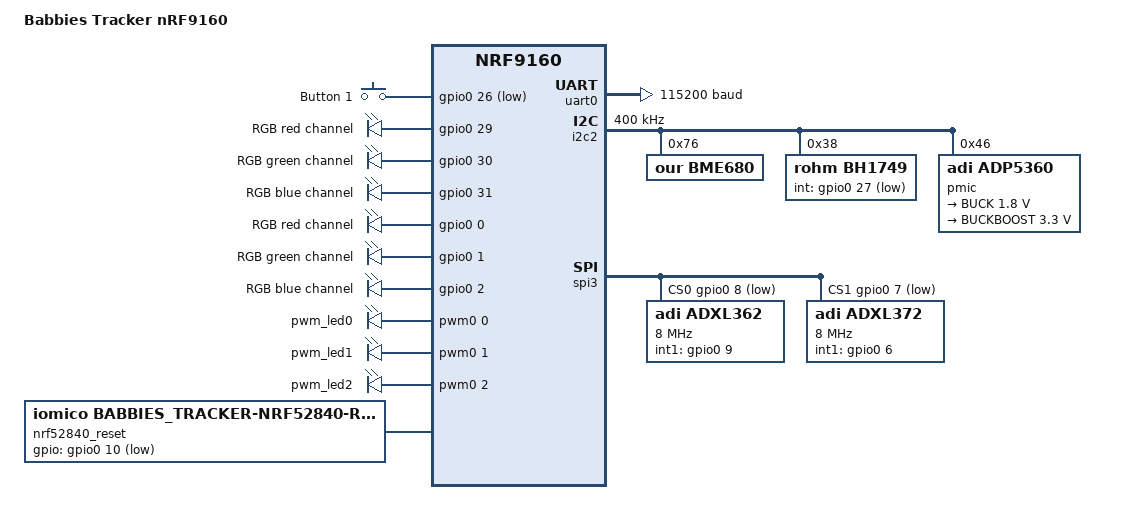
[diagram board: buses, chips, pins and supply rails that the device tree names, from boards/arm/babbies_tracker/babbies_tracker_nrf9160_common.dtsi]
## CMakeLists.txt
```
#Minimum CMake version
cmake_minimum_required(VERSION 3.20.0)

list(APPEND BOARD_ROOT ${CMAKE_CURRENT_SOURCE_DIR})
set(EXTRA_ZEPHYR_MODULES ${CMAKE_SOURCE_DIR}/custom_modules)
#Find Zephyr project
find_package(Zephyr REQUIRED HINTS $ENV{ZEPHYR_BASE})
#Project name
project(BabbiesTracker)

set(CMAKE_CXX_STANDARD 20)
set(CMAKE_CXX_STANDARD_REQUIRED ON)
set(CMAKE_CXX_EXTENSIONS OFF)

#Main app file
target_sources(app PRIVATE src/main.cpp)

# Treat all compiler warnings as errors
add_compile_options(-Werror)

# Disable CONTAINER_OF warning
target_compile_options(app PRIVATE -Wno-invalid-offsetof)

#Custom modules
add_subdirectory(src/services)
```

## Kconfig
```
menu "Zephyr Kernel Configuration"
    source "Kconfig.zephyr"
endmenu

rsource "custom_modules/Kconfig"
```

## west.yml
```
manifest:
  remotes:
    - name: nrfconnect
      url-base: https://github.com/nrfconnect

  projects:
     # The Nordic Connect SDK Manifest
    # This automatically includes Zephyr, mbedtls, mcuboot, and the proprietary libraries.
      - name: sdk-nrf
        remote: nrfconnect
        revision: v3.2.1
        path: nrf
        import: true
        west-commands: scripts/west-commands.yml
      
  self:
    path: BabbiesTracker
```

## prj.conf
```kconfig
# Enable C++
CONFIG_CPP=y
CONFIG_STD_CPP20=y
CONFIG_REQUIRES_FULL_LIBCPP=y
# Basic Zephyr settings
CONFIG_MAIN_STACK_SIZE=8192

CONFIG_FPU=y
CONFIG_CBPRINTF_FP_SUPPORT=y

CONFIG_GPIO=y
CONFIG_SERIAL=y
CONFIG_I2C=y
CONFIG_SENSOR=y

# Enable the logging subsystem
CONFIG_LOG=y
CONFIG_LOG_BUFFER_SIZE=8192

# NCS Specifics
CONFIG_NRF_MODEM_LIB=y
CONFIG_LTE_LINK_CONTROL=y

CONFIG_REBOOT=y

# Disable Power Management to keep Debugger alive
CONFIG_PM=y
CONFIG_PM_DEVICE=y
# Enable Settings subsystem with NVS backend
CONFIG_FLASH=y
CONFIG_FLASH_MAP=y
CONFIG_SETTINGS=y
CONFIG_SETTINGS_RUNTIME=y
CONFIG_NVS=y
CONFIG_SETTINGS_NVS=y
CONFIG_HEAP_MEM_POOL_SIZE=256
CONFIG_MPU_ALLOW_FLASH_WRITE=y
CONFIG_PM_PARTITION_SIZE_SETTINGS_STORAGE=0x6000
# Custom BME680 driver
CONFIG_OUR_BME680=y
```

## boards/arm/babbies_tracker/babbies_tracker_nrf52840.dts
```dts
/*
 * Copyright (c) 2019 Nordic Semiconductor ASA
 *
 * SPDX-License-Identifier: LicenseRef-Nordic-5-Clause
 */

/dts-v1/;
#include <nordic/nrf52840_qiaa.dtsi>
#include "babbies_tracker_nrf52840-pinctrl.dtsi"

/ {
	model = "BABBIES TRACKER NRF52840";
	compatible = "babbies_tracker,nrf52840";
	chosen {
		zephyr,console = &uart0;
		zephyr,flash = &flash0;
		zephyr,sram = &sram0;
		zephyr,uart-mcumgr = &uart0;
	};

	buttons {
		compatible = "gpio-keys";

		button0: button_0 {
			gpios = <&gpio1 13 (GPIO_PULL_UP | GPIO_ACTIVE_LOW)>;
			label = "Button 1";
		};
	};

	aliases {
		mcuboot-button0 = &button0;
	};
};

&reg1 {
	regulator-initial-mode = <NRF5X_REG_MODE_DCDC>;
};

&adc {
	status = "okay";
};

&gpiote {
	status = "okay";
};

&gpio0 {
	status = "okay";
};

&gpio1 {
	status = "okay";
};

&uart0 {
	compatible = "nordic,nrf-uarte";
	current-speed = <115200>;
	status = "okay";
	pinctrl-0 = <&uart0_default>;
	pinctrl-1 = <&uart0_sleep>;
	pinctrl-names = "default", "sleep";
};

&uart1 {
	current-speed = <1000000>;
	status = "disabled";
	pinctrl-0 = <&uart1_default>;
	pinctrl-1 = <&uart1_sleep>;
	pinctrl-names = "default", "sleep";
};

zephyr_udc0: &usbd {
	status = "okay";
};

&flash0 {
	partitions {
		compatible = "fixed-partitions";
		#address-cells = <1>;
		#size-cells = <1>;

		/* The size of this partition ensures that MCUBoot can be built
		 * with an RTT console, CDC ACM support, and w/o optimizations.
		 */
		boot_partition: partition@0 {
			label = "mcuboot";
			reg = <0x000000000 0x00012000>;
		};
		slot0_partition: partition@12000 {
			label = "image-0";
			reg = <0x00012000 0x000069000>;
		};
		slot1_partition: partition@7b000 {
			label = "image-1";
			reg = <0x0007b000 0x000069000>;
		};
		scratch_partition: partition@e4000 {
			label = "image-scratch";
			reg = <0x000e4000 0x00018000>;
		};
		storage_partition: partition@fc000 {
			label = "storage";
			reg = <0x000fc000 0x00004000>;
		};
	};
};
```

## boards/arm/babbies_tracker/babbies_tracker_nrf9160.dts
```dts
/*
 * Copyright (c) 2019 Nordic Semiconductor ASA
 *
 * SPDX-License-Identifier: LicenseRef-Nordic-5-Clause
 */

/dts-v1/;
#include <nordic/nrf9160_sica.dtsi>
#include "babbies_tracker_nrf9160_common.dtsi"

/ {
	chosen {
		zephyr,sram = &sram0;
		zephyr,flash = &flash0;
		zephyr,code-partition = &slot0_partition;
	};
};
```

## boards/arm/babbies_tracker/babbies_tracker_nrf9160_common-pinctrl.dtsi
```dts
&pinctrl {
    /* UART0 configuration */
    uart0_default: uart0_default {
        group1 {
            psels = <NRF_PSEL(UART_TX, 0, 1)>,  /* TX on P0.01 */
                    <NRF_PSEL(UART_RX, 0, 0)>;  /* RX on P0.00 */
        };
    };

    uart0_sleep: uart0_sleep {
        group1 {
            psels = <NRF_PSEL(UART_TX, 0, 1)>,
                    <NRF_PSEL(UART_RX, 0, 0)>;
            low-power-enable; /* Disconnect input buffers to save power */
        };
    };

    /* I2C2 configuration (Example) */
    i2c2_default: i2c2_default {
        group1 {
            psels = <NRF_PSEL(TWIM_SDA, 0, 30)>, /* SDA on P0.30 */
                    <NRF_PSEL(TWIM_SCL, 0, 31)>; /* SCL on P0.31 */
        };
    };

    i2c2_sleep: i2c2_sleep {
        group1 {
            psels = <NRF_PSEL(TWIM_SDA, 0, 30)>,
                    <NRF_PSEL(TWIM_SCL, 0, 31)>;
            low-power-enable;
        };
    };
};
```

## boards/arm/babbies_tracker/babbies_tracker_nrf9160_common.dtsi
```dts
#include "babbies_tracker_nrf9160_common-pinctrl.dtsi" /* 2. IMPORT YOUR PIN MAPS */

/ {
    model = "Babbies Tracker nRF9160";
    compatible = "babbies_tracker,nrf9160";

    /**< CHOSEN NODES: Tell Zephyr which hardware to use for system functions */
   chosen {
		zephyr,console = &uart0;
		zephyr,shell-uart = &uart0;
		zephyr,uart-mcumgr = &uart0;
	};
    /**< HARDWARE NODES: Define things connected to GPIOs */
	/**< Push Buttons */
	buttons {
		compatible = "gpio-keys";
		button0: button_0 {
			gpios = <&gpio0 26 (GPIO_PULL_UP | GPIO_ACTIVE_LOW)>;
			label = "Button 1";
		};
	};
	/**< On/Off toggle LEDs */	
    leds {
		compatible = "gpio-leds";
		red_led: led_1 {
			gpios = <&gpio0 29 0>;
			label = "RGB red channel";
		};
		green_led: led_2 {
			gpios = <&gpio0 30 0>;
			label = "RGB green channel";
		};
		blue_led: led_3 {
			gpios = <&gpio0 31 0>;
			label = "RGB blue channel";
		};
		sense_red_led: led_4 {
			gpios = <&gpio0 0 0>;
			label = "RGB red channel";
		};
		sense_green_led: led_5 {
			gpios = <&gpio0 1 0>;
			label = "RGB green channel";
		};
		sense_blue_led: led_6 {
			gpios = <&gpio0 2 0>;
			label = "RGB blue channel";
		};
	};
	/**< PWM channels */
	pwmleds {
		compatible = "pwm-leds";
		pwm_led0: pwm_led_0 {
			pwms = <&pwm0 0 PWM_MSEC(8) PWM_POLARITY_NORMAL>;
		};
		pwm_led1: pwm_led_1 {
			pwms = <&pwm0 1 PWM_MSEC(8) PWM_POLARITY_NORMAL>;
		};
		pwm_led2: pwm_led_2 {
			pwms = <&pwm0 2 PWM_MSEC(8) PWM_POLARITY_NORMAL>;
		};
	};
	/**< nRF52840 Reset Pin */
	nrf52840_reset: gpio-reset {
		compatible = "iomico,babbies_tracker-nrf52840-reset";
		status = "okay";
		gpios = <&gpio0 10 GPIO_ACTIVE_LOW>;
	};
    /**< ALIASES: Give friendly names to hardware */
    aliases {
		sw0 = &button0;
		led0 = &red_led;
		led1 = &green_led;
		led2 = &blue_led;
		sense-led0 = &sense_red_led;
		sense-led1 = &sense_green_led;
		sense-led2 = &sense_blue_led;
		pwm-led0 = &pwm_led0;
		pwm-led1 = &pwm_led1;
		pwm-led2 = &pwm_led2;
		rgb-pwm = &pwm0;
		nmos-pwm = &pwm2;
		mcuboot-button0 = &button0;
		mcuboot-led0 = &blue_led;
	};
};

/**< ENABLE PERIPHERALS: Turn on the SoC blocks you need */
/**< Enable UART0 for console, shell, and mcumgr */
&uart0 {
	compatible = "nordic,nrf-uarte";
	current-speed = <115200>;
	status = "okay";
	pinctrl-0 = <&uart0_default>;
	pinctrl-1 = <&uart0_sleep>;
	pinctrl-names = "default", "sleep";
};
/**< Disable UART1 (not used) */
&uart1 {
	current-speed = <1000000>;
	status = "disabled";
	pinctrl-0 = <&uart1_default>;
	pinctrl-1 = <&uart1_sleep>;
	pinctrl-names = "default", "sleep";
};
/**< Enable GPIOs */
&gpiote {
	status = "okay";
};
&gpio0 {
	status = "okay";
};
/**< Enable I2C and connected devices */
&i2c2 {
	compatible = "nordic,nrf-twim";
	status = "okay";
	clock-frequency = <I2C_BITRATE_FAST>;

	pinctrl-0 = <&i2c2_default>;
	pinctrl-1 = <&i2c2_sleep>;
	pinctrl-names = "default", "sleep";
	/**< Connected I2C devices */
	/**< BME680 Environmental Sensor */
	bme680: bme680@76 {
		compatible = "our,bme680";
		reg = <0x76>;
	};
	/**< BH1749 Color Sensor */
	bh1749: bh1749@38 {
		compatible = "rohm,bh1749";
		reg = <0x38>;
		int-gpios = <&gpio0 27 (GPIO_PULL_UP | GPIO_ACTIVE_LOW)>;
	};
	/**< ADP5360 Power Management IC */
	pmic@46 {
		compatible = "adi,adp5360";
		reg = <0x46>;

		regulators {
			compatible = "adi,adp5360-regulator";

			BUCK {
				regulator-min-microvolt = <1800000>;
				regulator-max-microvolt = <1800000>;
				regulator-init-microvolt = <1800000>;
				regulator-always-on;
				adi,enable-output-discharge;
			};

			BUCKBOOST {
				regulator-min-microvolt = <3300000>;
				regulator-max-microvolt = <3300000>;
				regulator-init-microvolt = <3300000>;
				regulator-always-on;
			};
		};
	};
};

&spi3 {
	compatible = "nordic,nrf-spim";
	status = "okay";
	cs-gpios = <&gpio0 8 GPIO_ACTIVE_LOW>, <&gpio0 7 GPIO_ACTIVE_LOW>;

	pinctrl-0 = <&spi3_default>;
	pinctrl-1 = <&spi3_sleep>;
	pinctrl-names = "default", "sleep";
	adxl362: adxl362@0 {
		compatible = "adi,adxl362";
		spi-max-frequency = <8000000>;
		reg = <0>;
		int1-gpios = <&gpio0 9 0>;
	};

	adxl372: adxl372@1 {
		compatible = "adi,adxl372";
		spi-max-frequency = <8000000>;
		reg = <1>;
		int1-gpios = <&gpio0 6 0>;
	};
};

&flash0 {
	/*
	 * For more information, see:
	 * http://docs.zephyrproject.org/devices/dts/flash_partitions.html
	 */
	partitions {
		compatible = "fixed-partitions";
		#address-cells = <1>;
		#size-cells = <1>;

		boot_partition: partition@0 {
			label = "mcuboot";
			reg = <0x00000000 0x10000>;
		};
		slot0_partition: partition@10000 {
			label = "image-0";
		};
		slot0_ns_partition: partition@40000 {
			label = "image-0-nonsecure";
		};
		slot1_partition: partition@80000 {
			label = "image-1";
		};
		slot1_ns_partition: partition@b0000 {
			label = "image-1-nonsecure";
		};
		scratch_partition: partition@f0000 {
			label = "image-scratch";
			reg = <0x000f0000 0xa000>;
		};
		storage_partition: partition@fa000 {
			label = "nvs-storage";
			reg = <0x000fa000 0x00006000>;
		};
	};
};

/ {

	reserved-memory {
		#address-cells = <1>;
		#size-cells = <1>;
		ranges;

		sram0_s: image_s@20000000 {
			/* Secure image memory */
		};

		sram0_bsd: image_bsd@20010000 {
			/* BSD (shared) memory */
		};

		sram0_ns: image_ns@20020000 {
			/* Non-Secure image memory */
		};
	};
};

/* Include partition configuration file */
#include "babbies_tracker_nrf9160_partition_conf.dtsi"
```

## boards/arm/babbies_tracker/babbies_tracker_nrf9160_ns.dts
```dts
/*
 * Copyright (c) 2019 Nordic Semiconductor ASA
 *
 * SPDX-License-Identifier: LicenseRef-Nordic-5-Clause
 */

/dts-v1/;
#include <nordic/nrf9160ns_sica.dtsi>
#include "babbies_tracker_nrf9160_common.dtsi"

/ {
	chosen {
		zephyr,flash = &flash0;
		zephyr,sram = &sram0_ns;
		zephyr,code-partition = &slot0_ns_partition;
	};
};

/* Disable Zephyr driver for UART1. The nrfx driver is used for interfacing with UART1
 * for sending modem traces.
 */
&uart1 {
	status = "disabled";
};
```

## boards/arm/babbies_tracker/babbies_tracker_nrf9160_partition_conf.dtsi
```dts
/*
 * Copyright (c) 2019 Nordic Semiconductor ASA
 *
 * SPDX-License-Identifier: LicenseRef-Nordic-5-Clause
 */

/*
 * Default Flash planning for babbies_tracker_nrf9160.
 *
 * Zephyr build for nRF9160 with ARM TrustZone-M support,
 * implies building Secure and Non-Secure Zephyr images.
 *
 * Secure image will be placed, by default, in flash0
 * (or in slot0, if MCUboot is present).
 * Secure image will use sram0 for system memory.
 *
 * Non-Secure image will be placed in slot0_ns, and use
 * sram0_ns for system memory.
 *
 * Note that the Secure image only requires knowledge of
 * the beginning of the Non-Secure image (not its size).
 */

&slot0_partition {
	reg = <0x00010000 0x30000>;
};

&slot0_ns_partition {
	reg = <0x00040000 0x40000>;
};

&slot1_partition {
	reg = <0x00080000 0x30000>;
};

&slot1_ns_partition {
	reg = <0x000b0000 0x40000>;
};

/* Default SRAM planning when building for nRF9160 with
 * ARM TrustZone-M support
 * - Lowest 64 kB SRAM allocated to Secure image (sram0).
 * - 64 kB SRAM reserved for and used by the BSD socket
 *   library.
 * - Upper 128 kB allocated to Non-Secure image (sram0_ns).
 */

&sram0_s {
	reg = <0x20000000 DT_SIZE_K(64)>;
};

&sram0_bsd {
	reg = <0x20010000 DT_SIZE_K(64)>;
};

&sram0_ns {
	reg = <0x20020000 DT_SIZE_K(128)>;
};
```

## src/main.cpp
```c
// Zephyr modules
#include <zephyr/kernel.h>
#include <zephyr/logging/log.h>
#include <zephyr/drivers/gpio.h>
#include <zephyr/device.h>
#include <zephyr/drivers/sensor.h>
// #include <modem/lte_lc.h>

LOG_MODULE_REGISTER(main_app, LOG_LEVEL_INF);

#define LED0_NODE DT_ALIAS(led0)
static const struct gpio_dt_spec led = GPIO_DT_SPEC_GET(LED0_NODE, gpios);

int main(void) {
    // volatile int attach_debugger = 1;
    // while (attach_debugger) {
    //     // Spin here forever until YOU change 'attach_debugger' to 0
    // }
    LOG_INF("BabbiesTracker application started. Like a charm!\n");
    // int err;
    // 1. Initialize the LTE Modem (Required for nRF9160 system stability)
    // This boots the modem core, even if we don't connect to a tower yet.
    // LOG_INF("Initializing LTE modem...\n");
    // err = lte_lc_init();
    // if (err) {
    //     LOG_ERR("Failed to init LTE modem: %d\n", err);
    // }
    // LOG_INF("LTE modem initialized.\n");
    if (!gpio_is_ready_dt(&led)) {
        return 0;
    }
    int ret = gpio_pin_configure_dt(&led, GPIO_OUTPUT_ACTIVE);
    if (ret < 0) {
        return 0;
    }
    // 2. Fetch the BME680 Sensor
    // The device name "BME680" must match your devicetree label/node
    const struct device *dev = DEVICE_DT_GET_ANY(bosch_bme680);

    if (!device_is_ready(dev)) {
        LOG_ERR("Sensor BME680 not ready!\n");
        return 0;
    }

    while (1) {
        ret = gpio_pin_toggle_dt(&led);
        // Fetch fresh data
        sensor_sample_fetch(dev);

        struct sensor_value temp, press, humidity, gas;
        sensor_channel_get(dev, SENSOR_CHAN_AMBIENT_TEMP, &temp);
        sensor_channel_get(dev, SENSOR_CHAN_PRESS, &press);
        sensor_channel_get(dev, SENSOR_CHAN_HUMIDITY, &humidity);
        sensor_channel_get(dev, SENSOR_CHAN_GAS_RES, &gas);

        LOG_INF("BME680 readings\n\tT: %d.%06d; P: %d.%06d; H: %d.%06d; G: %d.%06d",
                temp.val1, temp.val2, press.val1, press.val2,
                humidity.val1, humidity.val2, gas.val1, gas.val2);
        LOG_INF("LED toggled.");

        k_sleep(K_SECONDS(2));
    }
    return 0;    
}
```
